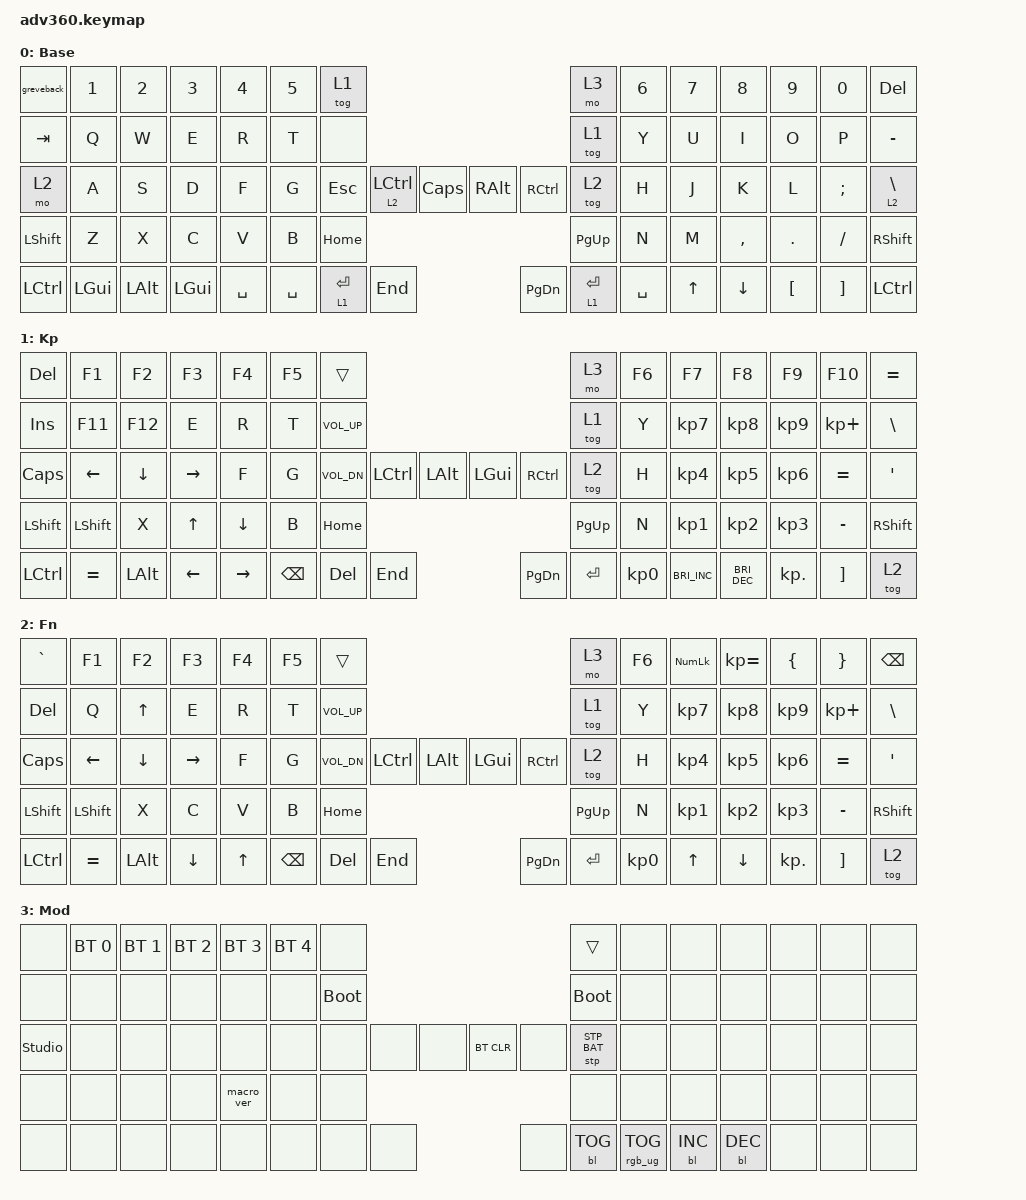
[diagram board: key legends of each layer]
#include <behaviors.dtsi>
#include <dt-bindings/zmk/keys.h>
#include <dt-bindings/zmk/bt.h>
#include <dt-bindings/zmk/rgb.h>
#include <dt-bindings/zmk/stp.h>
#include <dt-bindings/zmk/backlight.h>
#include <dt-bindings/zmk/pointing.h>

/ {
    behaviors {
      #include "macros.dtsi"
      #include "version.dtsi"

      hm: homerow_mods {
          compatible = "zmk,behavior-hold-tap";
          label = "HOMEROW_MODS";
          #binding-cells = <2>;
          tapping-term-ms = <200>;
          quick_tap_ms = <175>;
          flavor = "tap-preferred";
          bindings = <&kp>, <&kp>;
      };
    };

    behaviors {
        grevesc: grave_escape {
            compatible = "zmk,behavior-mod-morph";
            label = "GRAVE_ESCAPE";
            #binding-cells = <0>;
            bindings = <&kp ESC>, <&kp GRAVE>;
            mods = <(MOD_LALT|MOD_LSFT)>;
            keep-mods = <(MOD_LALT|MOD_LSFT)>;
        };
        greveback: grave_backspace {
            compatible = "zmk,behavior-mod-morph";
            label = "GRAVE_BSPC";
            #binding-cells = <0>;
            bindings = <&kp BSPC>, <&kp GRAVE>;
            mods = <(MOD_LALT|MOD_LSFT)>;
            keep-mods = <(MOD_LALT|MOD_LSFT)>;
        };
    };

  keymap {
    compatible = "zmk,keymap";

    default_layer {
      display-name = "Base";
      bindings = <
        &greveback  &kp N1    &kp N2   &kp N3   &kp N4     &kp N5 &tog 1                                                           &mo 3 &kp N6 &kp N7 &kp N8    &kp N9   &kp N0   &kp DEL
        &kp TAB     &kp Q     &kp W    &kp E    &kp R      &kp T  &none                                                            &tog 1 &kp Y  &kp U  &kp I     &kp O    &kp P    &kp MINUS
        &mo 2   &kp A     &kp S    &kp D    &kp F      &kp G  &kp ESC         &lt 2 LCTRL &kp CAPS &kp RALT  &kp RCTRL           &tog 2 &kp H  &kp J  &kp K     &kp L    &kp SEMI &lt 2 BSLH 
        &kp LSHFT   &kp Z     &kp X    &kp C    &kp V      &kp B                            &kp HOME &kp PG_UP                           &kp N  &kp M  &kp COMMA &kp DOT  &kp FSLH &kp RSHFT
        &kp LCTL    &kp LGUI &kp LALT &kp LGUI &kp SPACE            &kp SPACE &lt 1 ENTER  &kp END &kp PG_DN &lt 1 ENTER &kp SPACE              &kp UP &kp DOWN  &kp LBKT &kp RBKT &kp LCTL
      >;
    };
    keypad {
      display-name = "Kp";
      bindings = <
        &kp DEL   &kp F1    &kp F2   &kp F3    &kp F4     &kp F5 &trans                                                            &mo 3 &kp F6 &kp F7 &kp F8 &kp F9 &kp F10 &kp EQUAL
        &kp INS   &kp F11     &kp F12   &kp E     &kp R      &kp T  &kp C_VOL_UP                                                      &tog 1 &kp Y  &kp KP_N7  &kp KP_N8    &kp KP_N9     &kp KP_PLUS     &kp BSLH
        &kp CAPS  &kp LEFT  &kp DOWN &kp RIGHT &kp F      &kp G  &kp C_VOL_DN     &kp LCTRL &kp LALT &kp LGUI  &kp RCTRL           &tog 2 &kp H  &kp KP_N4  &kp KP_N5    &kp KP_N6     &kp EQUAL     &kp SQT
        &kp LSHFT &kp LSHFT &kp X    &kp UP     &kp DOWN      &kp B                            &kp HOME &kp PG_UP                           &kp N  &kp KP_N1  &kp KP_N2    &kp KP_N3     &kp MINUS    &kp RSHFT
        &kp LCTL  &kp EQUAL  &kp LALT &kp LEFT  &kp RIGHT                    &kp BSPC &kp DEL   &kp END  &kp PG_DN &kp ENTER &kp KP_N0              &kp C_BRIGHTNESS_INC     &kp C_BRIGHTNESS_DEC     &kp KP_DOT    &kp RBKT        &tog 2
      >;
    };
    fn {
      display-name = "Fn";
      bindings = <
        &kp GRAVE &kp F1    &kp F2   &kp F3    &kp F4     &kp F5 &trans                                                            &mo 3 &kp F6 &kp KP_NUM &kp KP_EQUAL &kp LBRC &kp RBRC &kp BSPC
        &kp DEL   &kp Q     &kp UP   &kp E     &kp R      &kp T  &kp C_VOL_UP                                                      &tog 1 &kp Y  &kp KP_N7  &kp KP_N8    &kp KP_N9     &kp KP_PLUS    &kp BSLH
        &kp CAPS  &kp LEFT  &kp DOWN &kp RIGHT &kp F      &kp G  &kp C_VOL_DN     &kp LCTRL &kp LALT &kp LGUI  &kp RCTRL           &tog 2 &kp H  &kp KP_N4  &kp KP_N5    &kp KP_N6     &kp EQUAL    &kp SQT
        &kp LSHFT &kp LSHFT &kp X    &kp C     &kp V      &kp B                            &kp HOME &kp PG_UP                           &kp N  &kp KP_N1  &kp KP_N2    &kp KP_N3     &kp MINUS    &kp RSHFT
        &kp LCTL  &kp EQUAL  &kp LALT &kp DOWN  &kp UP                    &kp BSPC &kp DEL   &kp END  &kp PG_DN &kp ENTER &kp KP_N0              &kp UP     &kp DOWN     &kp KP_DOT    &kp RBKT        &tog 2
      >;
    };
    mod {
      display-name = "Mod";
      bindings = <
        &none &bt BT_SEL 0 &bt BT_SEL 1 &bt BT_SEL 2 &bt BT_SEL 3 &bt BT_SEL 4 &none                                                                     &trans                 &none        &none        &none        &none &none &none
        &none &none        &none        &none        &none        &none        &bootloader                                                               &bootloader            &none        &none        &none        &none &none &none
        &studio_unlock &none        &none        &none        &none        &none        &none                   &none &none &bt BT_CLR &none                      &stp STP_BAT &none        &none        &none        &none &none &none
        &none &none        &none        &none        &macro_ver   &none                                      &none &none                                                        &none        &none        &none        &none &none &none
        &none &none        &none        &none        &none                                       &none &none &none &none      &bl BL_TOG &rgb_ug RGB_TOG                                     &bl BL_INC   &bl BL_DEC   &none &none &none
      >;
    };
    extra1 { 
      display-name = "Red";    
      status = "reserved";
    };

    extra2 { 
      display-name = "Purple";    
      status = "reserved";
    };

    extra3 { 
      display-name = "Cyan";    
      status = "reserved";
    };

    extra4 { 
      display-name = "Yellow";    
      status = "reserved";
    };
  };
};
